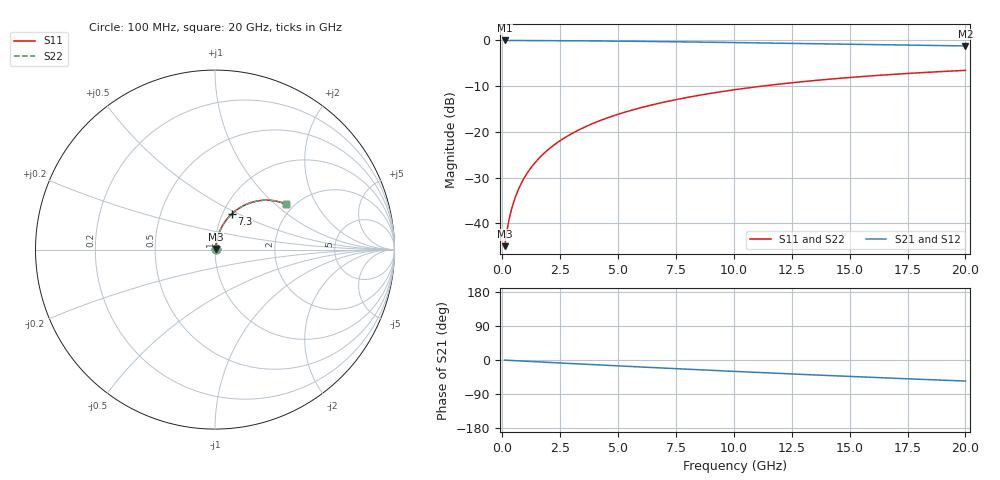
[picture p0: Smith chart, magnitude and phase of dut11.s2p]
! Touchstone file exported from HFSS 2026.1.0
!  File:  C:/ffzhzh/LocalFiles/Ansys_Project_Files/temp_val_TMRDL_11_1782902856_46784.aedt
!  Generated:  06:49:01 PM Jul  1, 2026
!  Design:  TMRDL
!  Project:  temp_val_TMRDL_11_1782902856_46784
! Variables:
!  h_bsmrdl = 2um
!  h_ox = 20um
!  h_rdl = 5um
!  h_sub = 80um
!  h_tmrdl = 4.28um
!  h_tsv = 80um
!  h_via = 3um
!  l_bsmrdl = 300um
!  l_sub = 1272.84um
!  l_tmrdl = 872.84um
!  m_sub = 200um
!  pitch = 40.48um
!  r_tsv = 6um
!  s_tmrdl = 10um
!  w_bsmrdl = 18um
!  w_sub = 500um
!  w_tmrdl = 16.65um
!  x_tsv_center1 = 881.165um
!  x_tsv_center2 = 1199.165um
!  x_tsv_center3 = 2088.655um
!  x_tsv_center4 = 2406.655um
!  x_tsv_center5 = 3296.145um
!  x_tsv_center6 = 3614.145um
# GHz S MA R 50.000000
! Terminal data exported
! Port[1] = TM_RDL1_1_T1
! Port[2] = TM_RDL1_1_T2
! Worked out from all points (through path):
!   200 points, 100 MHz to 20 GHz, reference 50 ohm
!   highest |S21| = -0.04 dB at 100 MHz (marker M1); lowest = -1.2 dB at 20 GHz (marker M2)
!   group delay of S21, straight-line fit = 7.72 ps
!   lowest |S11| = -45.0 dB at 100 MHz (marker M3), VSWR 1.01, Z = 50.4 + j0.35 ohm
!   |S11| at or under -10 dB: start of sweep to 11.24 GHz
!   |S22| runs from -45.0 to -6.6 dB; largest |S21 - S12| = 1.5e-14
!   S11 on the Smith chart (normalised r, x): 100 MHz: 1.01, +0.01; 7.3 GHz: 1.11, +0.46; 20 GHz: 1.81, +1.18
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0.1  0.005649 37.9  0.9956 -0.3  0.9956 -0.3  0.005649 37.9
! Gamma 0 0 0 0
! Port Impedance 50 0 50 0
0.2  0.0083 55.6  0.9954 -0.7  0.9954 -0.7  0.0083 55.6
0.3  0.01128 63.8  0.9951 -1.0  0.9951 -1.0  0.01128 63.8
0.4  0.01432 68.4  0.9949 -1.3  0.9949 -1.3  0.01432 68.4
0.5  0.0174 71.4  0.9948 -1.6  0.9948 -1.6  0.0174 71.4
0.6  0.0205 73.4  0.9946 -1.9  0.9946 -1.9  0.0205 73.4
0.8  0.02674 75.9  0.9943 -2.6  0.9943 -2.6  0.02674 75.9
1.1  0.03618 77.7  0.9938 -3.5  0.9938 -3.5  0.03618 77.7
1.3  0.0425 78.2  0.9934 -4.1  0.9934 -4.1  0.0425 78.2
1.6  0.05198 78.5  0.9928 -5.1  0.9928 -5.1  0.05198 78.5
2.1  0.06773 78.1  0.9915 -6.6  0.9915 -6.6  0.06773 78.1
2.7  0.08647 77.0  0.9895 -8.5  0.9895 -8.5  0.08647 77.0
3.5  0.111 75.2  0.9863 -11.0  0.9863 -11.0  0.111 75.2
4.2  0.1321 73.3  0.9831 -13.1  0.9831 -13.1  0.1321 73.3
5  0.1556 71.2  0.9788 -15.5  0.9788 -15.5  0.1556 71.2
6.8  0.2062 66.2  0.9678 -20.9  0.9678 -20.9  0.2062 66.2
7.3  0.2196 64.8  0.9645 -22.3  0.9645 -22.3  0.2196 64.8
8.6  0.2534 61.2  0.9553 -26.1  0.9553 -26.1  0.2534 61.2
10.1  0.2901 57.2  0.944 -30.3  0.944 -30.3  0.2901 57.2
13.4  0.3619 48.6  0.9179 -39.2  0.9179 -39.2  0.3619 48.6
16.7  0.4216 40.4  0.8918 -47.6  0.8918 -47.6  0.4216 40.4
20  0.4694 32.6  0.8678 -55.6  0.8678 -55.6  0.4694 32.6
